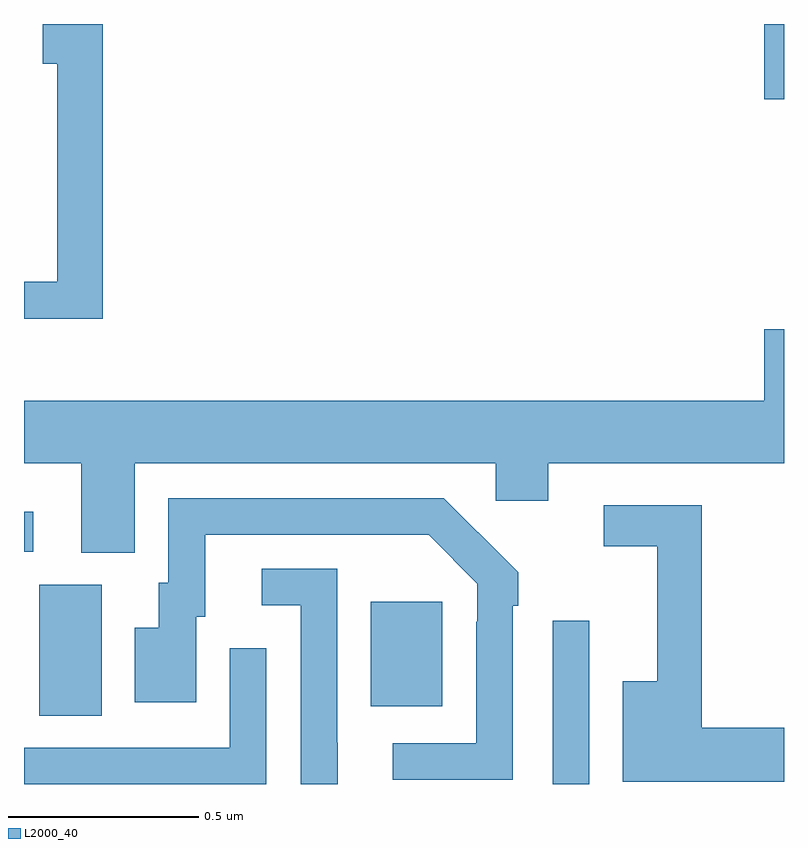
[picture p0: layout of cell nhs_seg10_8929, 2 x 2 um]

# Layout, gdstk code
import gdstk
lib = gdstk.Library(unit=1e-6, precision=1e-09)
def R(c, l, rs):  # rectangles x0, y0, x1, y1
    for r in rs: c.add(gdstk.rectangle(r[:2], r[2:], *l))
def P(c, l, *ps):  # polygons
    for p in ps: c.add(gdstk.Polygon(p, *l))
L2000_40 = (2000, 40)

nhs_seg10_8929 = lib.new_cell('nhs_seg10_8929')
R(nhs_seg10_8929, L2000_40, [(224.391,1271.5,224.487,1271.929), (223.04,1271.68,223.204,1272.024), (223.913,1271.705,224.101,1271.98), (223,1272.111,223.024,1272.217), (224.948,1273.302,225,1273.5)])
P(nhs_seg10_8929, L2000_40, [(223.207,1273.5),(223.049,1273.5),(223.049,1273.395),(223.088,1273.395),(223.088,1272.822),(223,1272.822),(223,1272.725),(223.207,1272.725)],
  [(223,1272.344),(223.151,1272.344),(223.151,1272.109),(223.291,1272.109),(223.291,1272.344),(224.241,1272.344),(224.241,1272.246),(224.38,1272.246),(224.38,1272.344),(225,1272.344),(225,1272.697),(224.948,1272.697),(224.948,1272.508),(223,1272.508)],
  [(224.286,1271.969),(224.301,1271.969),(224.301,1272.057),(224.196,1272.162),(224.195,1272.161),(224.104,1272.252),(223.38,1272.252),(223.38,1272.03),(223.355,1272.03),(223.355,1271.911),(223.292,1271.911),(223.292,1271.715),(223.453,1271.715),(223.453,1271.94),(223.477,1271.94),(223.477,1272.156),(224.065,1272.156),(224.193,1272.027),(224.193,1271.927),(224.19,1271.927),(224.19,1271.607),(223.971,1271.607),(223.971,1271.511),(224.286,1271.511)],
  [(225,1271.648),(224.783,1271.648),(224.783,1272.234),(224.526,1272.234),(224.526,1272.126),(224.666,1272.126),(224.666,1271.77),(224.576,1271.77),(224.576,1271.506),(225,1271.506)],
  [(223.825,1271.609),(223.824,1271.609),(223.824,1272.066),(223.626,1272.066),(223.626,1271.97),(223.728,1271.97),(223.728,1271.5),(223.825,1271.5)],
  [(223.637,1271.602),(223.638,1271.602),(223.638,1271.857),(223.542,1271.857),(223.542,1271.595),(223,1271.595),(223,1271.5),(223.637,1271.5)])

lib.write_gds('nhs_seg10_8929.gds')
